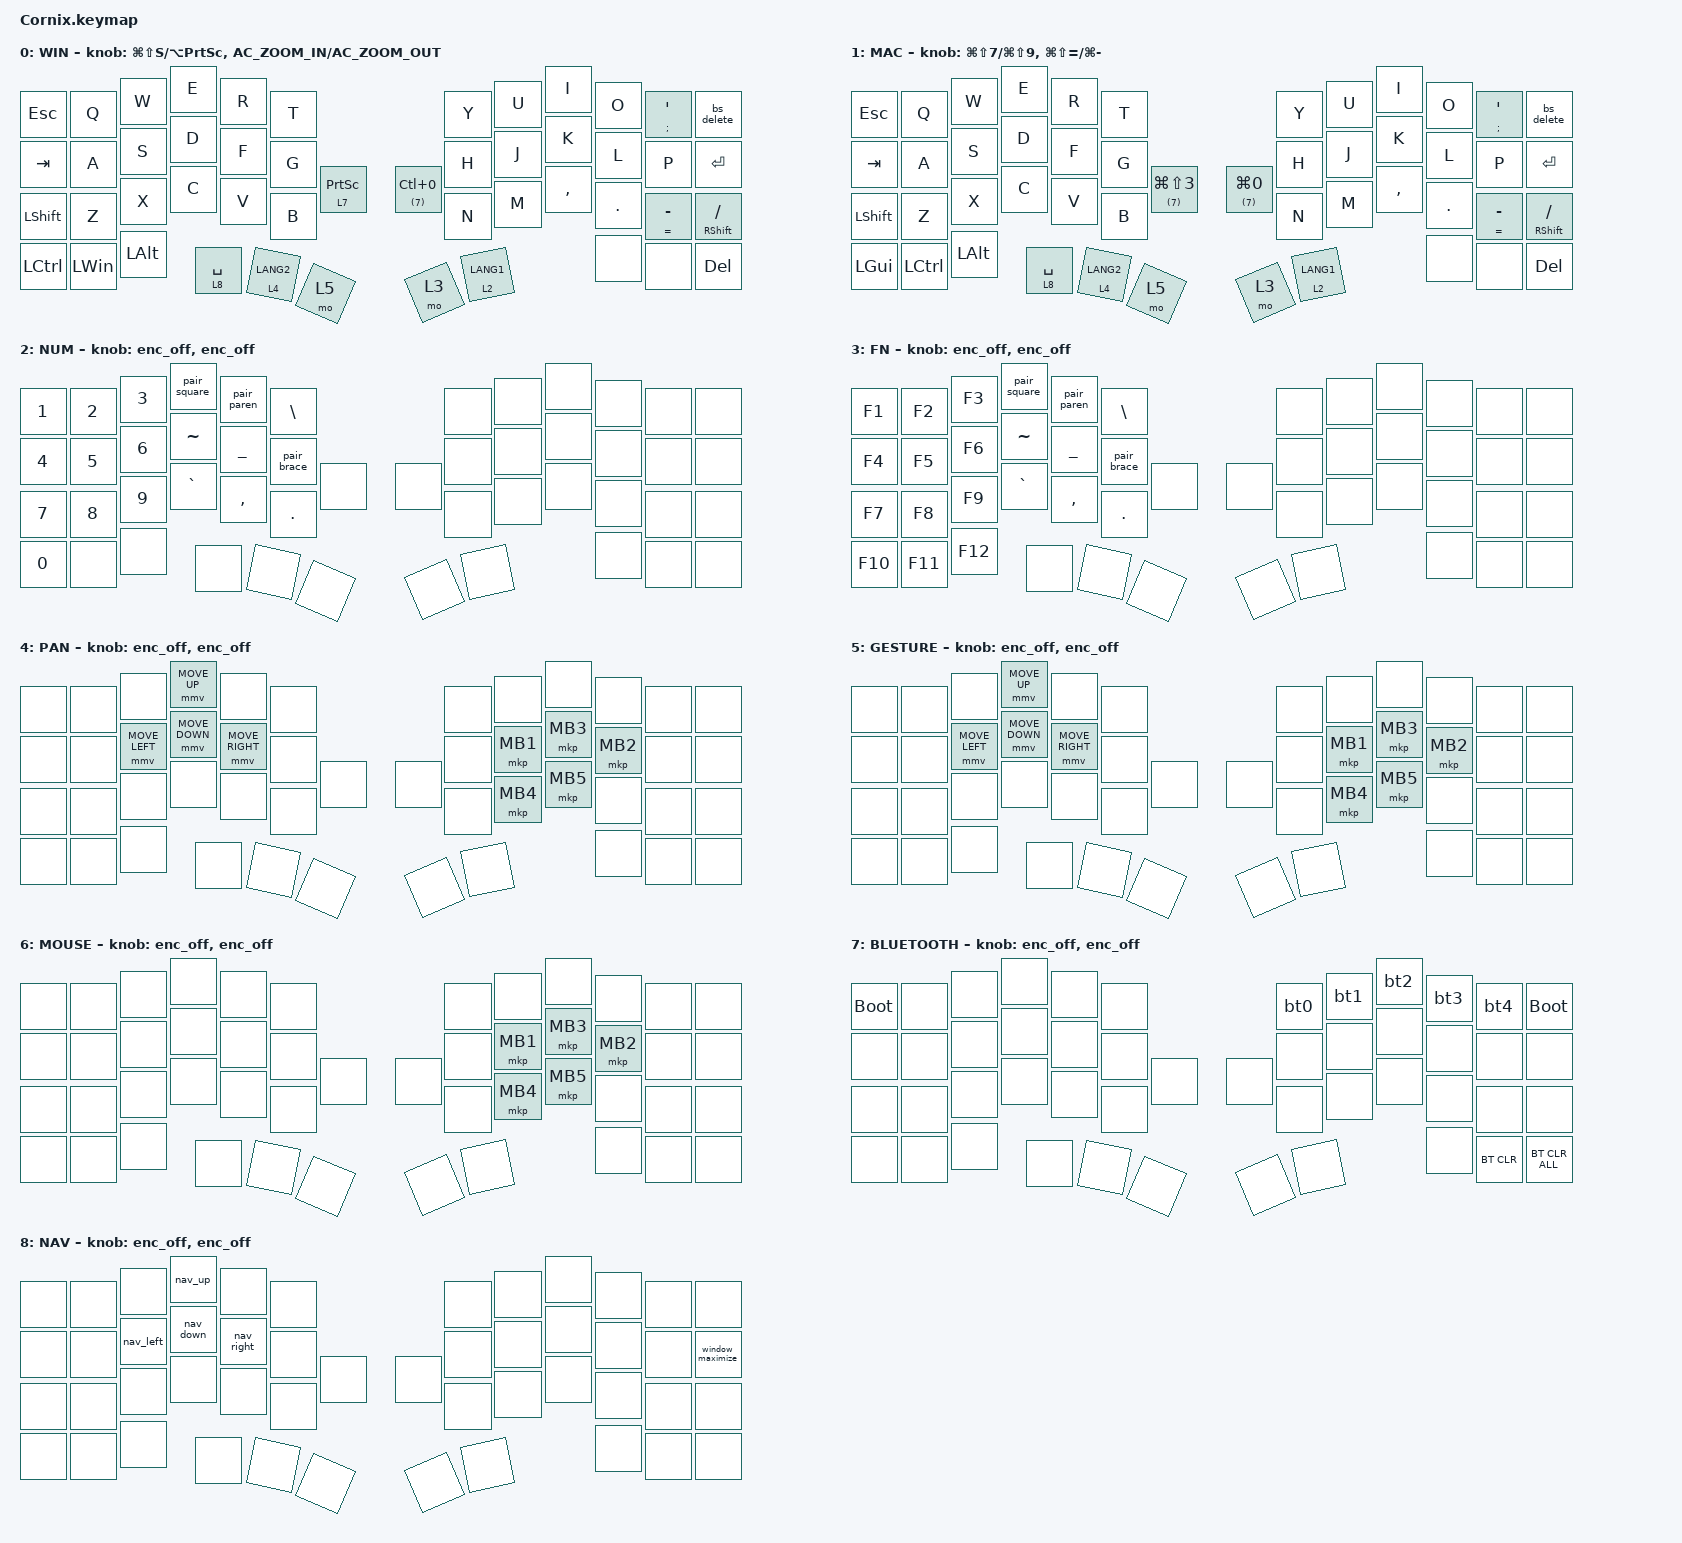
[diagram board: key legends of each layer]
/* Stock Cornix, 49 keys (unused lower-right switch omitted). Right central; no trackball hardware. */

#define ZMK_POINTING_DEFAULT_MOVE_VAL 1200
#include <dt-bindings/zmk/input_transform.h>
#include <input/processors.dtsi>
#include <behaviors.dtsi>
#include <dt-bindings/zmk/bt.h>
#include <dt-bindings/zmk/keys.h>
#include <dt-bindings/zmk/pointing.h>

&mt {
    flavor = "balanced";
    quick-tap-ms = <0>;
};

/ {
    macros {
        pair_paren: pair_paren {
            compatible = "zmk,behavior-macro";
            #binding-cells = <0>;
            display-name = "Pair ()";
            wait-ms = <10>;
            tap-ms = <10>;
            bindings = <&macro_tap>, <&kp LS(N9) &kp LS(N0) &kp LEFT>;
        };

        pair_square: pair_square {
            compatible = "zmk,behavior-macro";
            #binding-cells = <0>;
            display-name = "Pair []";
            wait-ms = <10>;
            tap-ms = <10>;
            bindings = <&macro_tap>, <&kp LBKT &kp RBKT &kp LEFT>;
        };

        pair_brace: pair_brace {
            compatible = "zmk,behavior-macro";
            #binding-cells = <0>;
            display-name = "Pair {}";
            wait-ms = <10>;
            tap-ms = <10>;
            bindings = <&macro_tap>, <&kp LS(LBKT) &kp LS(RBKT) &kp LEFT>;
        };

        /* Select a Bluetooth slot; the host OS is detected automatically. */

        bt0: bt0 {
            compatible = "zmk,behavior-macro";
            #binding-cells = <0>;
            bindings = <&bt BT_SEL 0>;
            display-name = "BT 0";
            label = "BT0";
        };

        bt1: bt1 {
            compatible = "zmk,behavior-macro";
            #binding-cells = <0>;
            bindings = <&bt BT_SEL 1>;
            display-name = "BT 1";
            label = "BT1";
        };

        bt2: bt2 {
            compatible = "zmk,behavior-macro";
            #binding-cells = <0>;
            bindings = <&bt BT_SEL 2>;
            display-name = "BT 2";
            label = "BT2";
        };

        bt3: bt3 {
            compatible = "zmk,behavior-macro";
            #binding-cells = <0>;
            bindings = <&bt BT_SEL 3>;
            display-name = "BT 3";
            label = "BT3";
        };

        bt4: bt4 {
            compatible = "zmk,behavior-macro";
            #binding-cells = <0>;
            bindings = <&bt BT_SEL 4>;
            display-name = "BT 4";
            label = "BT4";
        };
    };

    behaviors {
        window_maximize: window_maximize {
            compatible = "custom,behavior-os-key";
            #binding-cells = <0>;
            mac-layer = <1>;
            win-keycode = <LG(UP)>;
            mac-keycode = <LG(ENTER)>;
        };

        window_up: window_up {
            compatible = "custom,behavior-os-key";
            #binding-cells = <0>;
            mac-layer = <1>;
            win-keycode = <LG(LS(LEFT))>;
            mac-keycode = <LG(UP)>;
        };

        window_left: window_left {
            compatible = "custom,behavior-os-key";
            #binding-cells = <0>;
            mac-layer = <1>;
            win-keycode = <LG(LEFT)>;
            mac-keycode = <LG(LEFT)>;
        };

        window_down: window_down {
            compatible = "custom,behavior-os-key";
            #binding-cells = <0>;
            mac-layer = <1>;
            win-keycode = <LG(LS(RIGHT))>;
            mac-keycode = <LG(DOWN)>;
        };

        window_right: window_right {
            compatible = "custom,behavior-os-key";
            #binding-cells = <0>;
            mac-layer = <1>;
            win-keycode = <LG(RIGHT)>;
            mac-keycode = <LG(RIGHT)>;
        };

        desktop_prev: desktop_prev {
            compatible = "custom,behavior-os-key";
            #binding-cells = <0>;
            mac-layer = <1>;
            win-keycode = <LC(LG(LEFT))>;
            mac-keycode = <LC(LEFT)>;
        };

        desktop_next: desktop_next {
            compatible = "custom,behavior-os-key";
            #binding-cells = <0>;
            mac-layer = <1>;
            win-keycode = <LC(LG(RIGHT))>;
            mac-keycode = <LC(RIGHT)>;
        };

        mission_control: mission_control {
            compatible = "custom,behavior-os-key";
            #binding-cells = <0>;
            mac-layer = <1>;
            win-keycode = <LG(TAB)>;
            mac-keycode = <LC(UP)>;
        };

        app_expose: app_expose {
            compatible = "custom,behavior-os-key";
            #binding-cells = <0>;
            mac-layer = <1>;
            win-keycode = <LG(TAB)>;
            mac-keycode = <LC(DOWN)>;
        };

        /* Single tap = Backspace; double tap = forward Delete. */
        bs_delete: bs_delete {
            compatible = "zmk,behavior-tap-dance";
            #binding-cells = <0>;
            tapping-term-ms = <200>;
            bindings = <&kp BACKSPACE>, <&kp DELETE>;
        };

        /* NAV: single tap = arrow, double = existing action, triple = OS overview. */

        nav_up: nav_up {
            compatible = "zmk,behavior-tap-dance";
            #binding-cells = <0>;
            tapping-term-ms = <200>;
            bindings = <&kp UP>, <&window_up>, <&mission_control>;
        };

        nav_left: nav_left {
            compatible = "zmk,behavior-tap-dance";
            #binding-cells = <0>;
            tapping-term-ms = <200>;
            bindings = <&kp LEFT>, <&window_left>, <&desktop_prev>;
        };

        nav_down: nav_down {
            compatible = "zmk,behavior-tap-dance";
            #binding-cells = <0>;
            tapping-term-ms = <200>;
            bindings = <&kp DOWN>, <&window_down>, <&app_expose>;
        };

        nav_right: nav_right {
            compatible = "zmk,behavior-tap-dance";
            #binding-cells = <0>;
            tapping-term-ms = <200>;
            bindings = <&kp RIGHT>, <&window_right>, <&desktop_next>;
        };

        /* Consumes rotation without output; an omitted binding would fall
         * through to the WIN/MAC base layer.
         */

        enc_off: enc_off {
            compatible = "zmk,behavior-sensor-rotate";
            #sensor-binding-cells = <0>;
            bindings = <&none>, <&none>;
        };
    };

    keymap {
        compatible = "zmk,keymap";

        WIN {
            display-name = "WIN";
            bindings = <
&kp ESC         &kp Q         &kp W         &kp E        &kp R        &kp T                               &kp Y  &kp U        &kp I      &kp O    &mt SEMICOLON SQT  &bs_delete
&kp TAB         &kp A         &kp S         &kp D        &kp F        &kp G                               &kp H  &kp J        &kp K      &kp L    &kp P              &kp ENTER
&kp LEFT_SHIFT  &kp Z         &kp X         &kp C        &kp V        &kp B  &lt 7 PSCRN  &lt (7) LC(N0)  &kp N  &kp M        &kp COMMA  &kp DOT  &mt EQUAL MINUS    &mt RSHFT SLASH
&kp LCTRL       &kp LEFT_WIN  &kp LEFT_ALT  &lt 8 SPACE  &lt 4 LANG2  &mo 5                               &mo 3  &lt 2 LANG1             &none    &none              &kp DELETE
            >;

            sensor-bindings =
                <&inc_dec_kp LG(LS(S)) LA(PSCRN)>,
                <&inc_dec_kp C_AC_ZOOM_IN C_AC_ZOOM_OUT>;
        };

        MAC {
            display-name = "MAC";
            bindings = <
&kp ESC         &kp Q      &kp W         &kp E        &kp R        &kp T                                      &kp Y  &kp U        &kp I      &kp O    &mt SEMICOLON SQT  &bs_delete
&kp TAB         &kp A      &kp S         &kp D        &kp F        &kp G                                      &kp H  &kp J        &kp K      &kp L    &kp P              &kp ENTER
&kp LEFT_SHIFT  &kp Z      &kp X         &kp C        &kp V        &kp B  &lt (7) LG(LS(N3))  &lt (7) LG(N0)  &kp N  &kp M        &kp COMMA  &kp DOT  &mt EQUAL MINUS    &mt RSHFT SLASH
&kp LEFT_GUI    &kp LCTRL  &kp LEFT_ALT  &lt 8 SPACE  &lt 4 LANG2  &mo 5                                      &mo 3  &lt 2 LANG1             &none    &none              &kp DELETE
            >;

            sensor-bindings = <&inc_dec_kp LG(LS(N7)) LG(LS(N9)) &inc_dec_kp LG(LS(EQUAL)) LG(MINUS)>;
        };

        NUM {
            display-name = "NUM";
            bindings = <
&kp N1  &kp N2     &kp N3      &pair_square  &pair_paren     &kp BACKSLASH                &none  &none  &none  &none  &none  &none
&kp N4  &kp N5     &kp N6      &kp TILDE     &kp UNDERSCORE  &pair_brace                  &none  &none  &none  &none  &none  &none
&kp N7  &kp N8     &kp N9      &kp GRAVE     &kp COMMA       &kp PERIOD     &none  &none  &none  &none  &none  &none  &none  &none
&kp N0  &none      &none       &none         &none           &none                        &none  &none         &none  &none  &none
            >;

            sensor-bindings = <&enc_off &enc_off>;
        };

        FN {
            display-name = "FN";
            bindings = <
&kp F1   &kp F2   &kp F3   &pair_square  &pair_paren     &kp BACKSLASH                &none  &none  &none  &none  &none  &none
&kp F4   &kp F5   &kp F6   &kp TILDE     &kp UNDERSCORE  &pair_brace                  &none  &none  &none  &none  &none  &none
&kp F7   &kp F8   &kp F9   &kp GRAVE     &kp COMMA       &kp PERIOD     &none  &none  &none  &none  &none  &none  &none  &none
&kp F10  &kp F11  &kp F12  &none         &none           &none                        &none  &none         &none  &none  &none
            >;

            sensor-bindings = <&enc_off &enc_off>;
        };

        PAN {
            display-name = "PAN";
            /* Temporary pointer control until the external trackball is ready.
             * Match MOUSE everywhere except E/S/D/F = up/left/down/right. */
            bindings = <
&none  &none  &none           &mmv MOVE_UP    &none            &none                &none  &none     &none     &none     &none  &none
&none  &none  &mmv MOVE_LEFT  &mmv MOVE_DOWN  &mmv MOVE_RIGHT  &none                &none  &mkp MB1  &mkp MB3  &mkp MB2  &none  &none
&none  &none  &none           &none           &none            &none  &none  &none  &none  &mkp MB4  &mkp MB5  &none     &none  &none
&none  &none  &none           &none           &none            &none                &none  &none               &none     &none  &none
            >;

            /* Both encoders are intentionally unassigned on this layer. */
            sensor-bindings = <&enc_off &enc_off>;
        };

        GESTURE {
            display-name = "GESTURE";
            /* Same temporary pointer layout as PAN. */
            bindings = <
&none  &none  &none           &mmv MOVE_UP    &none            &none                &none  &none     &none     &none     &none  &none
&none  &none  &mmv MOVE_LEFT  &mmv MOVE_DOWN  &mmv MOVE_RIGHT  &none                &none  &mkp MB1  &mkp MB3  &mkp MB2  &none  &none
&none  &none  &none           &none           &none            &none  &none  &none  &none  &mkp MB4  &mkp MB5  &none     &none  &none
&none  &none  &none           &none           &none            &none                &none  &none               &none     &none  &none
            >;

            /* Both encoders are intentionally unassigned on this layer. */
            sensor-bindings = <&enc_off &enc_off>;
        };

        MOUSE {
            display-name = "MOUSE";
            bindings = <
&none  &none  &none  &none  &none  &none                &none  &none     &none     &none     &none  &none
&none  &none  &none  &none  &none  &none                &none  &mkp MB1  &mkp MB3  &mkp MB2  &none  &none
&none  &none  &none  &none  &none  &none  &none  &none  &none  &mkp MB4  &mkp MB5  &none     &none  &none
&none  &none  &none  &none  &none  &none                &none  &none               &none     &none  &none
            >;

            sensor-bindings = <&enc_off &enc_off>;
        };

        BLUETOOTH {
            display-name = "BLUETOOTH";
            bindings = <
&bootloader  &none  &none  &none  &none  &none                &bt0  &bt1  &bt2  &bt3  &bt4    &bootloader
&none        &none  &none  &none  &none  &none                &none     &none     &none     &none     &none       &none
&none        &none  &none  &none  &none  &none  &none  &none  &none     &none     &none     &none     &none       &none
&none        &none  &none  &none  &none  &none                &none     &none               &none     &bt BT_CLR  &bt BT_CLR_ALL
            >;

            sensor-bindings = <&enc_off &enc_off>;
        };

        NAV {
            display-name = "NAV";
            bindings = <
&none  &none  &none      &nav_up    &none       &none                &none  &none  &none  &none  &none  &none
&none  &none  &nav_left  &nav_down  &nav_right  &none                &none  &none  &none  &none  &none  &window_maximize
&none  &none  &none      &none      &none       &none  &none  &none  &none  &none  &none  &none  &none  &none
&none  &none  &none      &none      &none       &none                &none  &none         &none  &none  &none
            >;

            sensor-bindings = <&enc_off &enc_off>;
        };
    };
};
